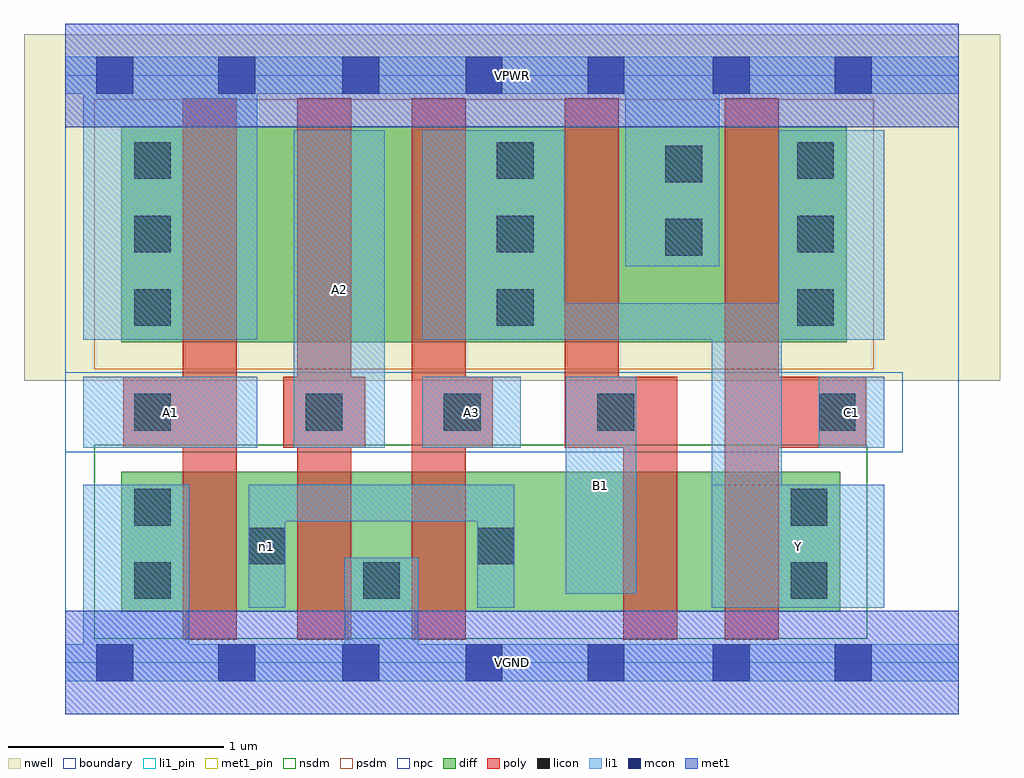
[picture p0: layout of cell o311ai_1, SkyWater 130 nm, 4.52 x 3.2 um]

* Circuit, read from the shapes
.subckt o311ai_1 A1 A2 A3 B1 C1 VGND VPWR Y n1
XM1 n1 A1 VGND VSUBS sky130_fd_pr__nfet_01v8 w=0.65 l=0.25
XM2 VGND A2 n1 VSUBS sky130_fd_pr__nfet_01v8 w=0.65 l=0.25
XM3 n1 A3 VGND VSUBS sky130_fd_pr__nfet_01v8 w=0.65 l=0.25
XM4 n2 B1 n1 VSUBS sky130_fd_pr__nfet_01v8 w=0.65 l=0.25
XM5 Y C1 n2 VSUBS sky130_fd_pr__nfet_01v8 w=0.65 l=0.25
XM6 n3 A1 VPWR n4 sky130_fd_pr__pfet_01v8 w=1 l=0.25
XM7 n5 A2 n3 n4 sky130_fd_pr__pfet_01v8 w=1 l=0.25
XM8 Y A3 n5 n4 sky130_fd_pr__pfet_01v8 w=1 l=0.25
XM9 VPWR B1 Y n4 sky130_fd_pr__pfet_01v8 w=1 l=0.25
XM10 Y C1 VPWR n4 sky130_fd_pr__pfet_01v8 w=1 l=0.25
.ends

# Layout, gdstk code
import gdstk
lib = gdstk.Library(unit=1e-6, precision=1e-09)
def R(c, l, rs):  # rectangles x0, y0, x1, y1
    for r in rs: c.add(gdstk.rectangle(r[:2], r[2:], *l))
def A(c, l, x, y, w, h, nx, ny, dx, dy):  # array of equal rectangles
    R(c, l, [(x+i*dx, y+j*dy, x+i*dx+w, y+j*dy+h) for i in range(nx) for j in range(ny)])
nwell = (64, 20)
diff = (65, 20)
poly = (66, 20)
licon = (66, 44)
li1_pin = (67, 16)
li1 = (67, 20)
mcon = (67, 44)
met1_pin = (68, 16)
met1 = (68, 20)
nsdm = (93, 44)
psdm = (94, 20)
npc = (95, 20)
boundary = (235, 4)

o311ai_1 = lib.new_cell('o311ai_1')
R(o311ai_1, nwell, [(-0.19,1.305,4.33,2.91), (0,1.305,4.14,2.91)])
R(o311ai_1, diff, [(0.26,0.235,3.59,0.885), (0.26,1.485,3.62,2.485)])
A(o311ai_1, poly, 0.545, 0.105, 0.25, 2.51, 3, 1, 0.53, 0)
R(o311ai_1, poly, [(2.585,0.105,2.835,1.325), (3.055,0.105,3.305,2.615), (0.27,0.995,0.795,1.325), (1.01,0.995,1.39,1.325), (1.605,0.995,1.98,1.325), (2.315,0.995,2.565,2.615), (2.315,0.995,2.835,1.325), (3.055,0.995,3.71,1.325)])
A(o311ai_1, licon, 0.32, 1.56, 0.17, 0.17, 1, 3, 0, 0.34)
A(o311ai_1, licon, 2, 1.56, 0.17, 0.17, 1, 3, 0, 0.34)
A(o311ai_1, licon, 3.39, 1.56, 0.17, 0.17, 1, 3, 0, 0.34)
R(o311ai_1, licon, [(0.32,0.295,0.49,0.465), (1.38,0.295,1.55,0.465), (3.36,0.295,3.53,0.465), (0.85,0.455,1.02,0.625), (1.91,0.455,2.08,0.625), (0.32,0.635,0.49,0.805), (3.36,0.635,3.53,0.805), (0.32,1.075,0.49,1.245), (1.115,1.075,1.285,1.245), (1.755,1.075,1.925,1.245), (2.465,1.075,2.635,1.245), (3.49,1.075,3.66,1.245), (2.78,1.885,2.95,2.055), (2.78,2.225,2.95,2.395)])
R(o311ai_1, li1_pin, [(2.995,0.255,3.795,0.825), (2.32,0.32,2.645,1.325), (0.085,0.995,0.89,1.325), (1.06,0.995,1.48,2.465), (1.655,0.995,2.11,1.325), (3.49,0.995,3.795,1.325)])
R(o311ai_1, li1, [(0,-0.085,4.14,0.085), (0.085,-0.085,0.575,0.825), (1.295,-0.085,1.635,0.485), (0.85,0.255,1.02,0.825), (1.91,0.255,2.08,0.825), (2.995,0.255,3.795,0.825), (2.995,0.255,3.32,1.665), (2.32,0.32,2.645,1.325), (0.85,0.655,2.08,0.825), (0.085,0.995,0.89,1.325), (1.06,0.995,1.48,2.465), (1.655,0.995,2.11,1.325), (3.49,0.995,3.795,1.325), (0.085,1.495,0.89,2.805), (1.655,1.495,2.315,2.465), (1.655,1.495,3.795,1.665), (3.305,1.495,3.795,2.465), (2.595,1.835,3.03,2.805), (0,2.635,4.14,2.805)])
R(o311ai_1, mcon, [(0.145,-0.085,0.315,0.085), (0.71,-0.085,0.88,0.085), (1.285,-0.085,1.455,0.085), (1.855,-0.085,2.025,0.085), (2.42,-0.085,2.59,0.085), (3,-0.085,3.17,0.085), (3.565,-0.085,3.735,0.085), (0.145,2.635,0.315,2.805), (0.71,2.635,0.88,2.805), (1.285,2.635,1.455,2.805), (1.855,2.635,2.025,2.805), (2.42,2.635,2.59,2.805), (3,2.635,3.17,2.805), (3.565,2.635,3.735,2.805)])
R(o311ai_1, met1_pin, [(0,-0.24,4.14,0.24), (0,2.48,4.14,2.96)])
R(o311ai_1, met1, [(0,-0.24,4.14,0.24), (0,2.48,4.14,2.96)])
R(o311ai_1, nsdm, [(0.135,0.11,3.715,1.01)])
R(o311ai_1, psdm, [(0.135,1.36,3.745,2.61)])
R(o311ai_1, npc, [(0,0.975,3.88,1.345)])
R(o311ai_1, boundary, [(0,0,4.14,2.72)])
o311ai_1.add(gdstk.Label('A1', (0.487,1.16), layer=67, texttype=5))
o311ai_1.add(gdstk.Label('A2', (1.27,1.73), layer=67, texttype=5))
o311ai_1.add(gdstk.Label('A3', (1.882,1.16), layer=67, texttype=5))
o311ai_1.add(gdstk.Label('B1', (2.482,0.822), layer=67, texttype=5))
o311ai_1.add(gdstk.Label('C1', (3.642,1.16), layer=67, texttype=5))
o311ai_1.add(gdstk.Label('Y', (3.395,0.54), layer=67, texttype=5))
o311ai_1.add(gdstk.Label('n1', (0.935,0.54), layer=67, texttype=5))
o311ai_1.add(gdstk.Label('VPWR', (2.07,2.72), layer=68, texttype=5))
o311ai_1.add(gdstk.Label('VGND', (2.07,0), layer=68, texttype=5))
o311ai_1.add(gdstk.Label('A1', (0.487,1.16), layer=67, texttype=16))
o311ai_1.add(gdstk.Label('A2', (1.27,1.73), layer=67, texttype=16))
o311ai_1.add(gdstk.Label('A3', (1.882,1.16), layer=67, texttype=16))
o311ai_1.add(gdstk.Label('B1', (2.482,0.822), layer=67, texttype=16))
o311ai_1.add(gdstk.Label('C1', (3.642,1.16), layer=67, texttype=16))
o311ai_1.add(gdstk.Label('Y', (3.395,0.54), layer=67, texttype=16))
o311ai_1.add(gdstk.Label('VPWR', (2.07,2.72), layer=68, texttype=16))
o311ai_1.add(gdstk.Label('VGND', (2.07,0), layer=68, texttype=16))

lib.write_gds('o311ai_1.gds')
